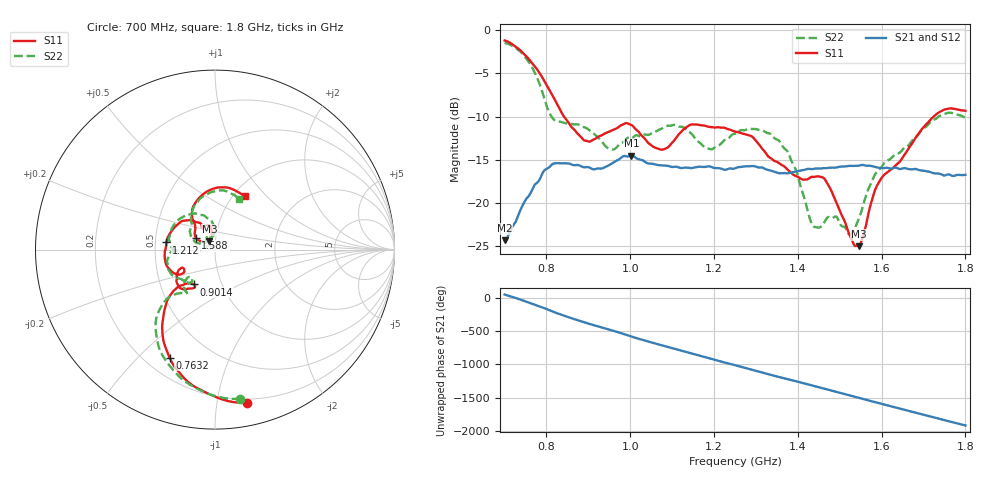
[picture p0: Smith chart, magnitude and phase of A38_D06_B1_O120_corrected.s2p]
! Created with skrf 1.9.0 (http://scikit-rf.org).
# Hz S RI R 50.0
!freq ReS11 ImS11 ReS21 ImS21 ReS12 ImS12 ReS22 ImS22
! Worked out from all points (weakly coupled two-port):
!   1601 points, 700 MHz to 1.8 GHz, reference 50 ohm
!   highest |S21| = -14.52 dB at 1.002 GHz (marker M1); lowest = -24.3 dB at 700.7 MHz (marker M2)
!   lowest |S11| = -25.0 dB at 1.545 GHz (marker M3), VSWR 1.12, Z = 46.7 + j4.36 ohm
!   |S11| at or under -10 dB: 841.6 MHz to 1.724 GHz (882.9 MHz wide, 68.8 % of centre)
!   |S22| runs from -23.7 to -1.5 dB; largest |S21 - S12| = 0.0035
!   S11 on the Smith chart (normalised r, x): 700 MHz: 0.17, -1.21; 763.2 MHz: 0.30, -0.62; 901.4 MHz: 0.74, -0.30; 1.212 GHz: 0.57, +0.05; 1.588 GHz: 0.80, +0.11; 1.8 GHz: 1.12, +0.76
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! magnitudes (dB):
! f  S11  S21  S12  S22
! 700 MHz  -1.2  -24.3  -24.1  -1.5
! 700.7 MHz  -1.2  -24.3  -24.0  -1.5
! 763.2 MHz  -3.7  -18.7  -18.7  -4.1
! 815.5 MHz  -7.7  -15.5  -15.6  -10.3
! 883.6 MHz  -12.4  -15.8  -15.7  -11.1
! 901.4 MHz  -12.9  -15.9  -15.9  -11.6
! 954.4 MHz  -11.7  -15.5  -15.5  -13.8
! 1.002 GHz  -11.0  -14.5  -14.6  -12.5
! 1.067 GHz  -13.7  -15.6  -15.6  -11.6
! 1.143 GHz  -10.9  -16.0  -16.0  -11.9
! 1.212 GHz  -11.3  -16.0  -16.0  -13.3
! 1.25 GHz  -11.7  -16.0  -15.9  -12.0
! 1.357 GHz  -15.5  -16.6  -16.5  -12.9
! 1.395 GHz  -16.9  -16.4  -16.4  -16.2
! 1.434 GHz  -17.0  -16.1  -16.0  -22.5
! 1.467 GHz  -17.4  -16.0  -16.0  -22.0
! 1.525 GHz  -23.9  -15.7  -15.7  -23.7
! 1.545 GHz  -25.0  -15.7  -15.7  -21.9
! 1.588 GHz  -18.1  -15.9  -15.9  -16.4
! 1.617 GHz  -16.3  -16.0  -15.9  -15.0
! 1.731 GHz  -9.7  -16.6  -16.6  -10.2
! 1.8 GHz  -9.3  -16.7  -16.7  -10.1
